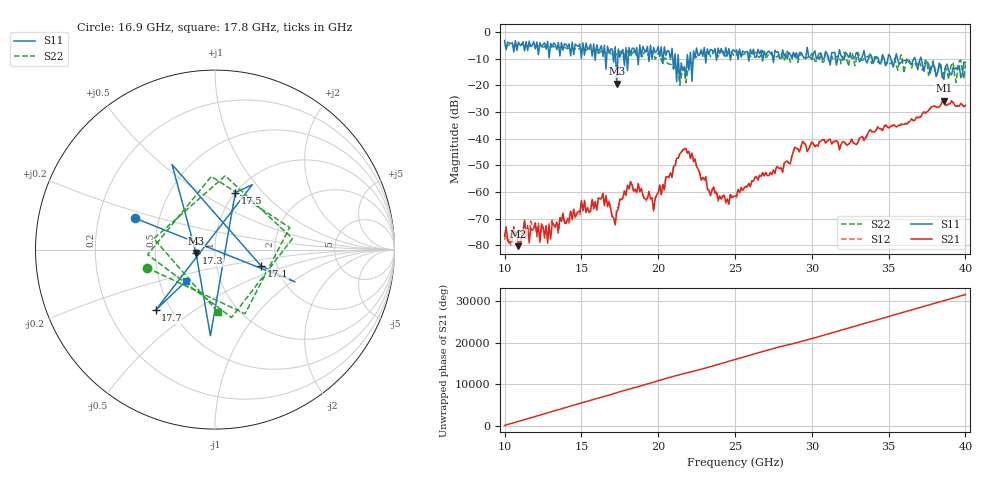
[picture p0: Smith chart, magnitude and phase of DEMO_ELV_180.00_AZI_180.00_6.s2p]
! 11/3/2026 12:37:47 PM
! C:\ANRITSUVNA\TEMP\TEMP.S2P
! CHANNEL.1
! TR.MEASUREMENT
! RAW.DATA
# HZ S RI R 50.0
! FREQ.HZ  S11RE  S11IM  S21RE  S21IM  S12RE  S12IM  S22RE  S22IM
!; PortSelection: Port_12
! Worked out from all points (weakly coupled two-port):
!   301 points, 10 GHz to 40 GHz, reference 50 ohm
!   highest |S21| = -25.78 dB at 38.6 GHz (marker M1); lowest = -80.4 dB at 10.9 GHz (marker M2)
!   lowest |S11| = -19.4 dB at 17.3 GHz (marker M3), VSWR 1.24, Z = 40.4 - j1.55 ohm
!   |S11| at or under -10 dB: 21.32 GHz to 21.88 GHz (565.8 MHz wide, 2.62 % of centre); 35.58 GHz to 36.65 GHz (1.072 GHz wide, 2.97 % of centre); 37.12 GHz to end of sweep (the widest 3 of 41)
!   |S22| runs from -20.0 to -4.7 dB; largest |S21 - S12| = 0.063
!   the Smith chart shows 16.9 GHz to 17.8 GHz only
!   S11 on the Smith chart (normalised r, x): 16.9 GHz: 0.36, +0.16; 17.1 GHz: 1.65, -0.32; 17.3 GHz: 0.81, -0.03; 17.5 GHz: 1.00, +0.72; 17.7 GHz: 0.41, -0.36; 17.8 GHz: 0.69, -0.25
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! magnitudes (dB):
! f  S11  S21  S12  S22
! 10 GHz  -3.2  -76.6  -78.0  -4.7
! 10.9 GHz  -3.8  -80.4  -79.2  -5.3
! 11.3 GHz  -7.0  -70.6  -70.8  -5.3
! 12.8 GHz  -3.5  -79.3  -76.3  -5.5
! 15 GHz  -9.9  -63.3  -63.7  -6.5
! 16.9 GHz  -6.4  -66.1  -66.2  -8.1
! 17.1 GHz  -11.3  -69.6  -69.6  -7.3
! 17.2 GHz  -5.5  -72.4  -72.5  -7.8
! 17.3 GHz  -19.4  -67.4  -66.0  -8.5
! 17.4 GHz  -6.4  -66.5  -65.9  -8.2
! 17.5 GHz  -9.4  -62.8  -62.7  -7.2
! 17.7 GHz  -6.5  -62.1  -62.5  -9.2
! 17.8 GHz  -12.6  -59.6  -59.9  -9.2
! 20 GHz  -5.4  -60.2  -60.5  -7.8
! 21.8 GHz  -16.7  -43.6  -43.6  -19.0
! 21.9 GHz  -8.5  -45.3  -45.5  -15.3
! 23.4 GHz  -6.5  -61.5  -60.9  -9.3
! 25 GHz  -7.5  -61.5  -61.2  -8.3
! 30 GHz  -10.3  -41.3  -41.3  -8.0
! 35 GHz  -8.4  -36.0  -35.9  -11.0
! 38.6 GHz  -17.8  -25.8  -25.8  -14.9
! 40 GHz  -11.5  -27.5  -27.5  -12.1
